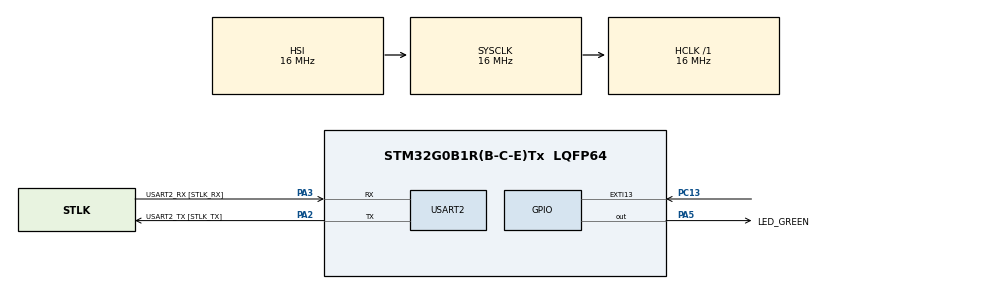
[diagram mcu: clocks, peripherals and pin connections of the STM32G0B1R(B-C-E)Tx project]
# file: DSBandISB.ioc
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IWDG.Prescaler=IWDG_PRESCALER_256
IWDG.Reload=500
Mcu.Family=STM32G0
Mcu.Name=STM32G0B1R(B-C-E)Tx
Mcu.Package=LQFP64
NVIC.EXTI4_15_IRQn=true\:0\:0\:false\:false\:true\:true\:true\:true
PA13.GPIO_Label=TMS
PA13.Mode=Serial_Wire
PA13.Signal=SYS_SWDIO
PA14-BOOT0.GPIO_Label=TCK
PA14-BOOT0.Mode=Serial_Wire
PA14-BOOT0.Signal=SYS_SWCLK
PA2.GPIO_Label=USART2_TX [STLK_TX]
PA2.Mode=Asynchronous
PA2.Signal=USART2_TX
PA3.GPIO_Label=USART2_RX [STLK_RX]
PA3.Mode=Asynchronous
PA3.Signal=USART2_RX
PA5.GPIO_Label=LED_GREEN
PA5.GPIO_Speed=GPIO_SPEED_FREQ_HIGH
PA5.Signal=GPIO_Output
PC13.GPIO_ModeDefaultEXTI=GPIO_MODE_IT_FALLING
PC13.Signal=GPXTI13
PC14-OSC32_IN\ (PC14).Mode=LSE-External-Oscillator
PC14-OSC32_IN\ (PC14).Signal=RCC_OSC32_IN
PC15-OSC32_OUT\ (PC15).Mode=LSE-External-Oscillator
PC15-OSC32_OUT\ (PC15).Signal=RCC_OSC32_OUT
PF0-OSC_IN\ (PF0).GPIO_Label=MCO
PF0-OSC_IN\ (PF0).Mode=HSE-External-Clock-Source
PF0-OSC_IN\ (PF0).Signal=RCC_OSC_IN
ProjectManager.HeapSize=0x200
ProjectManager.StackSize=0x400
ProjectManager.TargetToolchain=STM32CubeIDE
RCC.AHBFreq_Value=16000000
RCC.CortexFreq_Value=16000000
RCC.EXTERNAL_CLOCK_VALUE=12288000
RCC.HCLKFreq_Value=16000000
RCC.HSE_VALUE=8000000
RCC.HSI48_VALUE=48000000
RCC.HSI_VALUE=16000000
RCC.SYSCLKFreq_VALUE=16000000
RCC.USBFreq_Value=48000000
RCC.VCOOutputFreq_Value=128000000
RTC.Date=28
RTC.WeekDay=RTC_WEEKDAY_WEDNESDAY
RTC.Year=26
USART2.VirtualMode-Asynchronous=VM_ASYNC
VP_IWDG_VS_IWDG.Mode=IWDG_Activate
VP_RTC_VS_RTC_Activate.Mode=RTC_Enabled
VP_RTC_VS_RTC_Calendar.Mode=RTC_Calendar
VP_SYS_VS_DBSignals.Mode=DisableDeadBatterySignals
board=NUCLEO-G0B1RE

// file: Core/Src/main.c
/* USER CODE BEGIN Header */
/**
  ******************************************************************************
  * @file           : main.c
  * @brief          : Main program body
  ******************************************************************************
  * @attention
  *
  * Copyright (c) 2026 STMicroelectronics.
  * All rights reserved.
  *
  * This software is licensed under terms that can be found in the LICENSE file
  * in the root directory of this software component.
  * If no LICENSE file comes with this software, it is provided AS-IS.
  *
  ******************************************************************************
  */
/* USER CODE END Header */
#include "main.h"

/* USER CODE BEGIN Includes */
#include <stdio.h>
/* USER CODE END Includes */

IWDG_HandleTypeDef hiwdg;

RTC_HandleTypeDef hrtc;

UART_HandleTypeDef huart2;

/* USER CODE BEGIN PV */
uint8_t delay = 200;
RTC_TimeTypeDef hTime = {0};
RTC_DateTypeDef hDate = {0};

/* USER CODE END PV */

void SystemClock_Config(void);
static void MX_GPIO_Init(void);
static void MX_USART2_UART_Init(void);
static void MX_RTC_Init(void);
static void MX_IWDG_Init(void);
/* USER CODE BEGIN PFP */

void enterSTOP1Mode_Safe(void);

/* USER CODE END PFP */

int main(void)
{

  /* USER CODE BEGIN 1 */
	uint8_t count = 0;
  /* USER CODE END 1 */

  /* MCU Configuration--------------------------------------------------------*/

  /* Reset of all peripherals, Initializes the Flash interface and the Systick. */
  HAL_Init();

  /* Configure the system clock */
  SystemClock_Config();

  /* Initialize all configured peripherals */
  MX_GPIO_Init();
  MX_USART2_UART_Init();
  MX_RTC_Init();
  MX_IWDG_Init();
  /* USER CODE BEGIN 2 */
  while(HAL_GPIO_ReadPin(GPIOC, GPIO_PIN_13) == GPIO_PIN_RESET)		// Wait realese Boton
	  HAL_IWDG_Refresh(&hiwdg);

  /* USER CODE END 2 */

  /* Infinite loop */
  /* USER CODE BEGIN WHILE */
  while (1)
  {
	  if(HAL_GPIO_ReadPin(GPIOC, GPIO_PIN_13) == GPIO_PIN_RESET){
		  HAL_Delay(50);		// Delay of 50 miliseconds
		  if(HAL_GPIO_ReadPin(GPIOC, GPIO_PIN_13) == GPIO_PIN_RESET){
			  while(HAL_GPIO_ReadPin(GPIOC, GPIO_PIN_13) == GPIO_PIN_RESET)	// Release the button
				  HAL_IWDG_Refresh(&hiwdg);

			  HAL_Delay(50);

			  // Disable Ports and Peripherals to decrease the  current consumption
			  // Except RTC and IWDG

			  // GPIOs in Analog mode to reduce current consumption
			  GPIOA->MODER |= 0xFFFFFFFF;
			  GPIOB->MODER |= 0xFFFFFFFF;
			  GPIOC->MODER |= 0xF3FFFFFF;		// PC13 is used to be Wake-up Pin
			  GPIOD->MODER |= 0xFFFFFFFF;
			  GPIOE->MODER |= 0xFFFFFFFF;
			  GPIOF->MODER |= 0xFFFFFFFF;

			  __HAL_RCC_GPIOA_CLK_DISABLE();
			  __HAL_RCC_GPIOB_CLK_DISABLE();
			  //__HAL_RCC_GPIOC_CLK_DISABLE();		// Not Disable C port Clock
			  __HAL_RCC_GPIOD_CLK_DISABLE();
			  __HAL_RCC_GPIOE_CLK_DISABLE();
			  __HAL_RCC_GPIOF_CLK_DISABLE();

			  if(HAL_UART_DeInit(&huart2) != HAL_OK)	// Disable UART
				  Error_Handler();

			  HAL_DBGMCU_DisableDBGStopMode();		// Disable Debugger

			  HAL_SuspendTick(); 						// SysTick interrupt will be disabled
			  HAL_NVIC_EnableIRQ(EXTI4_15_IRQn);		// Enable Pin Interrupt to exit of the STOP Mode

			  //HAL_PWREx_DisableFlashPowerDown(PWR_FLASHPD_STOP);	// Flash Memory is idle
			  HAL_PWREx_EnableFlashPowerDown(PWR_FLASHPD_STOP);		// Flash Memory is powered down

			  //HAL_PWREx_EnablePORMonitorSampling();		// enable ultra low power modes

			  enterSTOP1Mode_Safe();			// Enter STOP 1 MODE

			  HAL_ResumeTick();			// SysTick interrupt will be enabled

			  // Reconfiguration Ports and Peripherals
			  MX_GPIO_Init();
			  MX_USART2_UART_Init();
			  HAL_PWREx_DisablePORMonitorSampling();		// disable ultra low power modes

			  delay = 100;
			  HAL_Delay(50);
			  while(HAL_GPIO_ReadPin(GPIOC, GPIO_PIN_13) == GPIO_PIN_RESET)
				  HAL_IWDG_Refresh(&hiwdg);		// Remember you can use option bytes (IWDG_STOP) to freeze IWDG counter
		  }

	}

	  // Toggle Led Pin
	  HAL_Delay(delay);
	  HAL_GPIO_TogglePin(LED_GREEN_GPIO_Port, LED_GREEN_Pin);

	  // Obtain the Date and Time
	  HAL_RTC_GetDate(&hrtc, &hDate, RTC_FORMAT_BIN);
	  HAL_RTC_GetTime(&hrtc, &hTime, RTC_FORMAT_BIN);

	  count++;
	  if(count == 10){
		  count = 0;
		  printf("%02d:%02d:%02d  %02d/%02d/20%02d\r\n",
				  hTime.Hours,
				  hTime.Minutes,
				  hTime.Seconds,
				  hDate.Date,
				  hDate.Month,
				  hDate.Year);
	  	  }

	  HAL_IWDG_Refresh(&hiwdg);		// Refresh IWDG,	Remember, uncheck IWDG_STDBY to Freeze IWDDG counter in standby mode

    /* USER CODE END WHILE */

  }
}

void SystemClock_Config(void)
{
  RCC_OscInitTypeDef RCC_OscInitStruct = {0};
  RCC_ClkInitTypeDef RCC_ClkInitStruct = {0};

  /** Configure the main internal regulator output voltage
  */
  HAL_PWREx_ControlVoltageScaling(PWR_REGULATOR_VOLTAGE_SCALE1);

  /** Initializes the RCC Oscillators according to the specified parameters
  * in the RCC_OscInitTypeDef structure.
  */
  RCC_OscInitStruct.OscillatorType = RCC_OSCILLATORTYPE_HSI|RCC_OSCILLATORTYPE_LSI;
  RCC_OscInitStruct.HSIState = RCC_HSI_ON;
  RCC_OscInitStruct.HSIDiv = RCC_HSI_DIV1;
  RCC_OscInitStruct.HSICalibrationValue = RCC_HSICALIBRATION_DEFAULT;
  RCC_OscInitStruct.LSIState = RCC_LSI_ON;
  RCC_OscInitStruct.PLL.PLLState = RCC_PLL_NONE;
  if (HAL_RCC_OscConfig(&RCC_OscInitStruct) != HAL_OK)
  {
    Error_Handler();
  }

  /** Initializes the CPU, AHB and APB buses clocks
  */
  RCC_ClkInitStruct.ClockType = RCC_CLOCKTYPE_HCLK|RCC_CLOCKTYPE_SYSCLK
                              |RCC_CLOCKTYPE_PCLK1;
  RCC_ClkInitStruct.SYSCLKSource = RCC_SYSCLKSOURCE_HSI;
  RCC_ClkInitStruct.AHBCLKDivider = RCC_SYSCLK_DIV1;
  RCC_ClkInitStruct.APB1CLKDivider = RCC_HCLK_DIV1;

  if (HAL_RCC_ClockConfig(&RCC_ClkInitStruct, FLASH_LATENCY_0) != HAL_OK)
  {
    Error_Handler();
  }
}

static void MX_IWDG_Init(void)
{

  hiwdg.Instance = IWDG;
  hiwdg.Init.Prescaler = IWDG_PRESCALER_256;
  hiwdg.Init.Window = 4095;
  hiwdg.Init.Reload = 500;
  if (HAL_IWDG_Init(&hiwdg) != HAL_OK)
  {
    Error_Handler();
  }

}

static void MX_RTC_Init(void)
{

  RTC_TimeTypeDef sTime = {0};
  RTC_DateTypeDef sDate = {0};

  /** Initialize RTC Only
  */
  hrtc.Instance = RTC;
  hrtc.Init.HourFormat = RTC_HOURFORMAT_24;
  hrtc.Init.AsynchPrediv = 127;
  hrtc.Init.SynchPrediv = 255;
  hrtc.Init.OutPut = RTC_OUTPUT_DISABLE;
  hrtc.Init.OutPutRemap = RTC_OUTPUT_REMAP_NONE;
  hrtc.Init.OutPutPolarity = RTC_OUTPUT_POLARITY_HIGH;
  hrtc.Init.OutPutType = RTC_OUTPUT_TYPE_OPENDRAIN;
  hrtc.Init.OutPutPullUp = RTC_OUTPUT_PULLUP_NONE;
  if (HAL_RTC_Init(&hrtc) != HAL_OK)
  {
    Error_Handler();
  }

  /** Initialize RTC and set the Time and Date
  */
  sTime.Hours = 0x0;
  sTime.Minutes = 0x0;
  sTime.Seconds = 0x0;
  sTime.SubSeconds = 0x0;
  sTime.DayLightSaving = RTC_DAYLIGHTSAVING_NONE;
  sTime.StoreOperation = RTC_STOREOPERATION_RESET;
  if (HAL_RTC_SetTime(&hrtc, &sTime, RTC_FORMAT_BCD) != HAL_OK)
  {
    Error_Handler();
  }
  sDate.WeekDay = RTC_WEEKDAY_WEDNESDAY;
  sDate.Month = RTC_MONTH_JANUARY;
  sDate.Date = 0x28;
  sDate.Year = 0x26;

  if (HAL_RTC_SetDate(&hrtc, &sDate, RTC_FORMAT_BCD) != HAL_OK)
  {
    Error_Handler();
  }

}

static void MX_USART2_UART_Init(void)
{

  huart2.Instance = USART2;
  huart2.Init.BaudRate = 115200;
  huart2.Init.WordLength = UART_WORDLENGTH_8B;
  huart2.Init.StopBits = UART_STOPBITS_1;
  huart2.Init.Parity = UART_PARITY_NONE;
  huart2.Init.Mode = UART_MODE_TX_RX;
  huart2.Init.HwFlowCtl = UART_HWCONTROL_NONE;
  huart2.Init.OverSampling = UART_OVERSAMPLING_16;
  huart2.Init.OneBitSampling = UART_ONE_BIT_SAMPLE_DISABLE;
  huart2.Init.ClockPrescaler = UART_PRESCALER_DIV1;
  huart2.AdvancedInit.AdvFeatureInit = UART_ADVFEATURE_NO_INIT;
  if (HAL_UART_Init(&huart2) != HAL_OK)
  {
    Error_Handler();
  }
  if (HAL_UARTEx_SetTxFifoThreshold(&huart2, UART_TXFIFO_THRESHOLD_1_8) != HAL_OK)
  {
    Error_Handler();
  }
  if (HAL_UARTEx_SetRxFifoThreshold(&huart2, UART_RXFIFO_THRESHOLD_1_8) != HAL_OK)
  {
    Error_Handler();
  }
  if (HAL_UARTEx_DisableFifoMode(&huart2) != HAL_OK)
  {
    Error_Handler();
  }

}

static void MX_GPIO_Init(void)
{
  GPIO_InitTypeDef GPIO_InitStruct = {0};

  /* GPIO Ports Clock Enable */
  __HAL_RCC_GPIOC_CLK_ENABLE();
  __HAL_RCC_GPIOF_CLK_ENABLE();
  __HAL_RCC_GPIOA_CLK_ENABLE();
  __HAL_RCC_GPIOB_CLK_ENABLE();
  __HAL_RCC_GPIOD_CLK_ENABLE();

  /*Configure GPIO pin Output Level */
  HAL_GPIO_WritePin(LED_GREEN_GPIO_Port, LED_GREEN_Pin, GPIO_PIN_RESET);

  /*Configure GPIO pins : PC11 PC12 PC0 PC1
                           PC2 PC3 PC4 PC5
                           PC6 PC7 PC8 PC9
                           PC10 */
  GPIO_InitStruct.Pin = GPIO_PIN_11|GPIO_PIN_12|GPIO_PIN_0|GPIO_PIN_1
                          |GPIO_PIN_2|GPIO_PIN_3|GPIO_PIN_4|GPIO_PIN_5
                          |GPIO_PIN_6|GPIO_PIN_7|GPIO_PIN_8|GPIO_PIN_9
                          |GPIO_PIN_10;
  GPIO_InitStruct.Mode = GPIO_MODE_ANALOG;
  GPIO_InitStruct.Pull = GPIO_NOPULL;
  HAL_GPIO_Init(GPIOC, &GPIO_InitStruct);

  /*Configure GPIO pin : PC13 */
  GPIO_InitStruct.Pin = GPIO_PIN_13;
  GPIO_InitStruct.Mode = GPIO_MODE_IT_FALLING;
  GPIO_InitStruct.Pull = GPIO_NOPULL;
  HAL_GPIO_Init(GPIOC, &GPIO_InitStruct);

  /*Configure GPIO pins : PF1 PF2 */
  GPIO_InitStruct.Pin = GPIO_PIN_1|GPIO_PIN_2;
  GPIO_InitStruct.Mode = GPIO_MODE_ANALOG;
  GPIO_InitStruct.Pull = GPIO_NOPULL;
  HAL_GPIO_Init(GPIOF, &GPIO_InitStruct);

  /*Configure GPIO pins : PA0 PA1 PA4 PA6
                           PA7 PA8 PA9 PA10
                           PA11 PA12 PA15 */
  GPIO_InitStruct.Pin = GPIO_PIN_0|GPIO_PIN_1|GPIO_PIN_4|GPIO_PIN_6
                          |GPIO_PIN_7|GPIO_PIN_8|GPIO_PIN_9|GPIO_PIN_10
                          |GPIO_PIN_11|GPIO_PIN_12|GPIO_PIN_15;
  GPIO_InitStruct.Mode = GPIO_MODE_ANALOG;
  GPIO_InitStruct.Pull = GPIO_NOPULL;
  HAL_GPIO_Init(GPIOA, &GPIO_InitStruct);

  /*Configure GPIO pin : LED_GREEN_Pin */
  GPIO_InitStruct.Pin = LED_GREEN_Pin;
  GPIO_InitStruct.Mode = GPIO_MODE_OUTPUT_PP;
  GPIO_InitStruct.Pull = GPIO_NOPULL;
  GPIO_InitStruct.Speed = GPIO_SPEED_FREQ_HIGH;
  HAL_GPIO_Init(LED_GREEN_GPIO_Port, &GPIO_InitStruct);

  /*Configure GPIO pins : PB0 PB1 PB2 PB10
                           PB11 PB12 PB13 PB14
                           PB15 PB3 PB4 PB5
                           PB6 PB7 PB8 PB9 */
  GPIO_InitStruct.Pin = GPIO_PIN_0|GPIO_PIN_1|GPIO_PIN_2|GPIO_PIN_10
                          |GPIO_PIN_11|GPIO_PIN_12|GPIO_PIN_13|GPIO_PIN_14
                          |GPIO_PIN_15|GPIO_PIN_3|GPIO_PIN_4|GPIO_PIN_5
                          |GPIO_PIN_6|GPIO_PIN_7|GPIO_PIN_8|GPIO_PIN_9;
  GPIO_InitStruct.Mode = GPIO_MODE_ANALOG;
  GPIO_InitStruct.Pull = GPIO_NOPULL;
  HAL_GPIO_Init(GPIOB, &GPIO_InitStruct);

  /*Configure GPIO pins : PD8 PD9 PD0 PD1
                           PD2 PD3 PD4 PD5
                           PD6 */
  GPIO_InitStruct.Pin = GPIO_PIN_8|GPIO_PIN_9|GPIO_PIN_0|GPIO_PIN_1
                          |GPIO_PIN_2|GPIO_PIN_3|GPIO_PIN_4|GPIO_PIN_5
                          |GPIO_PIN_6;
  GPIO_InitStruct.Mode = GPIO_MODE_ANALOG;
  GPIO_InitStruct.Pull = GPIO_NOPULL;
  HAL_GPIO_Init(GPIOD, &GPIO_InitStruct);

  /* EXTI interrupt init*/
  HAL_NVIC_SetPriority(EXTI4_15_IRQn, 0, 0);
  HAL_NVIC_EnableIRQ(EXTI4_15_IRQn);

  /* USER CODE BEGIN MX_GPIO_Init_2 */
  HAL_NVIC_DisableIRQ(EXTI4_15_IRQn);
  /* USER CODE END MX_GPIO_Init_2 */
}

/* USER CODE BEGIN 4 */
int _write(int file, char *ptr, int len)
{
    HAL_UART_Transmit(&huart2, (uint8_t*)ptr, len, HAL_MAX_DELAY);
    return len;
}

void enterSTOP1Mode_Safe(void){
	/* Configure MCU to enter STOP1 mode using Low-Power regulator */
	MODIFY_REG(PWR->CR1, PWR_CR1_LPMS, PWR_LOWPOWERMODE_STOP1);

	/* Enable deep sleep mode (required for STOP mode entry) */
	SET_BIT(SCB->SCR, (uint32_t)SCB_SCR_SLEEPDEEP_Msk);

	/* Ensure all memory accesses are completed before sleep */
	__DSB();

	/* Flush CPU pipeline to guarantee instruction synchronization */
	__ISB();

	/* Enter low-power mode and wait for an interrupt to wake up */
	__WFI();

	/* Disable deep sleep after wake-up to restore normal operation */
	CLEAR_BIT(SCB->SCR, (uint32_t)SCB_SCR_SLEEPDEEP_Msk);
}

/* USER CODE END 4 */

void Error_Handler(void)
{
  __disable_irq();
  while (1)
  {
  }
}
